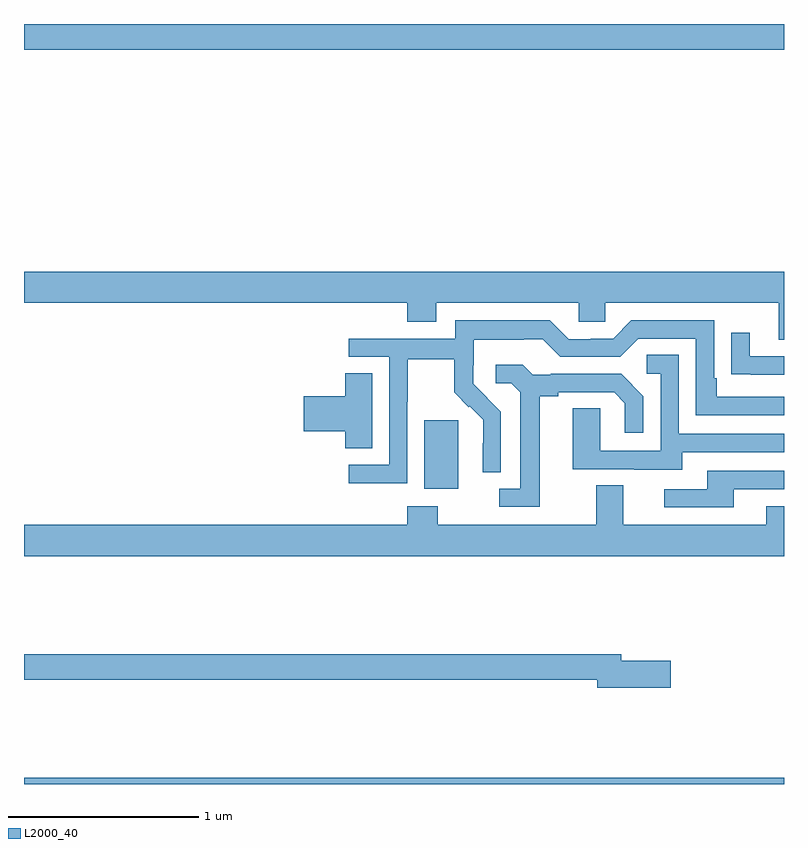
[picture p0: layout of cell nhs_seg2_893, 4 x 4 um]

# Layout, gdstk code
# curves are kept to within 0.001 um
import gdstk
lib = gdstk.Library(unit=1e-6, precision=1e-09)
def R(c, l, rs):  # rectangles x0, y0, x1, y1
    for r in rs: c.add(gdstk.rectangle(r[:2], r[2:], *l))
def P(c, l, *ps):  # polygons
    for p in ps: c.add(gdstk.Polygon(p, *l))
L2000_40 = (2000, 40)

nhs_seg2_893 = lib.new_cell('nhs_seg2_893')
R(nhs_seg2_893, L2000_40, [(157,615.8,161,615.832), (159.107,617.354,159.286,617.715), (157,619.664,161,619.8)])
P(nhs_seg2_893, L2000_40, [(161,618.496),(157,618.496),(157,618.332),(159.017,618.332),(159.017,618.233),(159.169,618.233),(159.169,618.332),(159.921,618.332),(159.921,618.234),(160.059,618.234),(160.059,618.332),(160.973,618.332),(160.973,618.138),(161,618.138)],
  [(159.018,617.812),(159.021,617.812),(159.021,618.036),(159.265,618.036),(159.265,617.861),(159.342,617.784),(159.345,617.787),(159.416,617.717),(159.416,617.594),(159.414,617.594),(159.414,617.44),(159.51,617.44),(159.51,617.758),(159.364,617.906),(159.364,618.003),(159.366,618.003),(159.366,618.137),(159.629,618.137),(159.629,618.141),(159.729,618.141),(159.822,618.048),(160.137,618.048),(160.233,618.144),(160.536,618.144),(160.536,617.742),(161,617.742),(161,617.838),(160.645,617.838),(160.645,617.935),(160.632,617.935),(160.632,618.24),(160.197,618.24),(160.101,618.144),(159.983,618.144),(159.983,618.141),(159.867,618.141),(159.767,618.241),(159.27,618.241),(159.27,618.144),(158.709,618.144),(158.709,618.048),(158.922,618.048),(158.922,617.481),(158.709,617.481),(158.709,617.383),(159.018,617.383)],
  [(161,618.051),(160.819,618.051),(160.819,618.175),(160.723,618.175),(160.723,617.956),(160.825,617.956),(160.825,617.955),(161,617.955)],
  [(160.465,617.547),(161,617.547),(161,617.643),(160.446,617.643),(160.446,618.059),(160.278,618.059),(160.278,617.958),(160.35,617.958),(160.35,617.553),(160.032,617.553),(160.032,617.777),(159.887,617.777),(159.887,617.457),(160.211,617.457),(160.211,617.453),(160.465,617.453)],
  [(159.715,617.84),(159.811,617.84),(159.811,617.862),(160.106,617.862),(160.163,617.805),(160.163,617.649),(160.26,617.649),(160.26,617.842),(160.144,617.958),(159.772,617.958),(159.772,617.955),(159.678,617.955),(159.626,618.007),(159.483,618.007),(159.483,617.91),(159.564,617.91),(159.611,617.863),(159.611,617.355),(159.501,617.355),(159.501,617.259),(159.715,617.259)],
  [(158.833,617.963),(158.69,617.963),(158.69,617.84),(158.472,617.84),(158.472,617.657),(158.69,617.657),(158.69,617.566),(158.833,617.566)],
  [(160.735,617.352),(161,617.352),(161,617.448),(160.595,617.448),(160.595,617.352),(160.371,617.352),(160.371,617.256),(160.735,617.256)],
  [(161,617.263),(160.907,617.263),(160.907,617.164),(160.153,617.164),(160.153,617.372),(160.013,617.372),(160.013,617.164),(159.177,617.164),(159.177,617.263),(159.017,617.263),(159.017,617.164),(157,617.164),(157,617),(161,617)],
  [(160.405,616.448),(160.144,616.448),(160.144,616.484),(157,616.484),(157,616.348),(160.016,616.348),(160.016,616.306),(160.405,616.306)])

lib.write_gds('nhs_seg2_893.gds')
